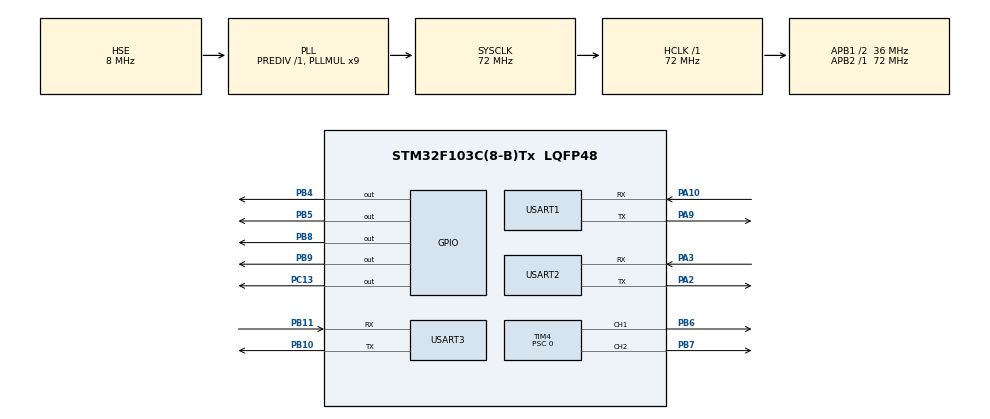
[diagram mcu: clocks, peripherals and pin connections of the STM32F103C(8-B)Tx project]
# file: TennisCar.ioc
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Mcu.Family=STM32F1
Mcu.Name=STM32F103C(8-B)Tx
Mcu.Package=LQFP48
NVIC.PriorityGroup=NVIC_PRIORITYGROUP_4
NVIC.TIM4_IRQn=true\:3\:0\:true\:false\:true\:true\:true
NVIC.USART1_IRQn=true\:0\:0\:false\:false\:true\:true\:true
NVIC.USART2_IRQn=true\:0\:0\:false\:false\:true\:true\:true
NVIC.USART3_IRQn=true\:2\:0\:true\:false\:true\:true\:true
PA10.Mode=Asynchronous
PA10.Signal=USART1_RX
PA13.Mode=Serial_Wire
PA13.Signal=SYS_JTMS-SWDIO
PA14.Mode=Serial_Wire
PA14.Signal=SYS_JTCK-SWCLK
PA2.Mode=Asynchronous
PA2.Signal=USART2_TX
PA3.Mode=Asynchronous
PA3.Signal=USART2_RX
PA9.Mode=Asynchronous
PA9.Signal=USART1_TX
PB10.Mode=Asynchronous
PB10.Signal=USART3_TX
PB11.Mode=Asynchronous
PB11.Signal=USART3_RX
PB4.Signal=GPIO_Output
PB5.Signal=GPIO_Output
PB6.Signal=S_TIM4_CH1
PB7.Signal=S_TIM4_CH2
PB8.Signal=GPIO_Output
PB9.Signal=GPIO_Output
PC13-TAMPER-RTC.Signal=GPIO_Output
PD0-OSC_IN.Mode=HSE-External-Oscillator
PD0-OSC_IN.Signal=RCC_OSC_IN
PD1-OSC_OUT.Mode=HSE-External-Oscillator
PD1-OSC_OUT.Signal=RCC_OSC_OUT
ProjectManager.HeapSize=0x200
ProjectManager.StackSize=0x400
ProjectManager.TargetToolchain=MDK-ARM V5
RCC.AHBFreq_Value=72000000
RCC.APB1CLKDivider=RCC_HCLK_DIV2
RCC.APB1Freq_Value=36000000
RCC.APB1TimFreq_Value=72000000
RCC.APB2Freq_Value=72000000
RCC.APB2TimFreq_Value=72000000
RCC.HCLKFreq_Value=72000000
RCC.PLLMUL=RCC_PLL_MUL9
RCC.PLLSourceVirtual=RCC_PLLSOURCE_HSE
RCC.SYSCLKFreq_VALUE=72000000
RCC.SYSCLKSource=RCC_SYSCLKSOURCE_PLLCLK
RCC.USBFreq_Value=72000000
SH.S_TIM4_CH1.0=TIM4_CH1,PWM Generation1 CH1
SH.S_TIM4_CH2.0=TIM4_CH2,PWM Generation2 CH2
TIM4.Channel-PWM\ Generation1\ CH1=TIM_CHANNEL_1
TIM4.Channel-PWM\ Generation2\ CH2=TIM_CHANNEL_2
TIM4.Period=7199
TIM4.Prescaler=0
TIM4.Pulse-PWM\ Generation1\ CH1=0
TIM4.Pulse-PWM\ Generation2\ CH2=0
USART1.VirtualMode=VM_ASYNC
USART2.VirtualMode=VM_ASYNC
USART3.VirtualMode=VM_ASYNC
VP_TIM4_VS_ClockSourceINT.Mode=Internal
board=custom

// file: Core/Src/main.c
/* USER CODE BEGIN Header */
/**
  ******************************************************************************
  * @file           : main.c
  * @brief          : Main program body
  ******************************************************************************
  * @attention
  *
  * <h2><center>&copy; Copyright (c) 2023 STMicroelectronics.
  * All rights reserved.</center></h2>
  *
  * This software component is licensed by ST under BSD 3-Clause license,
  * the "License"; You may not use this file except in compliance with the
  * License. You may obtain a copy of the License at:
  *                        opensource.org/licenses/BSD-3-Clause
  *
  ******************************************************************************
  */
/* USER CODE END Header */
#include "main.h"
#include "tim.h"
#include "usart.h"
#include "gpio.h"
#include "stdlib.h"

/* USER CODE BEGIN PV */
uint8_t RxBuffer[3];
uint16_t Flag ;  //标志位
uint8_t OpenMV[4]; //openmv模块接收
uint8_t RxFlag;     // openmv模块接收标志位
float PID;
uint16_t Left_Speed;
uint16_t Right_Speed ;
uint16_t stop =0;
uint16_t cout;
/* USER CODE END PV */

void SystemClock_Config(void);
/* USER CODE BEGIN PFP */

// 小车四向运动
void Car_Go(void );
void Car_Back(void);
void Car_Left(void);
void Car_Right(void);
void Car_Stop(void);
void Car_Turn(void);
void HAL_TIM_PeriodElapsedCallback(TIM_HandleTypeDef *htim);
void Car_advance(void);
void TIM_SetCompare1(TIM_TypeDef *, int);
void Car_Run(int,int);
/* USER CODE END PFP */

int main(void)
{

  /* MCU Configuration--------------------------------------------------------*/

  /* Reset of all peripherals, Initializes the Flash interface and the Systick. */
  HAL_Init();

  /* Configure the system clock */
  SystemClock_Config();

  /* Initialize all configured peripherals */
  MX_GPIO_Init();
  MX_USART1_UART_Init();
  MX_USART2_UART_Init();
  MX_TIM4_Init();
  MX_USART3_UART_Init();
  /* USER CODE BEGIN 2 */

  HAL_TIM_Base_Start_IT(&htim4);//开启TIM2定时器中断
  HAL_TIM_PWM_Start(&htim4,TIM_CHANNEL_1);//开启PWM波
  HAL_TIM_PWM_Start(&htim4,TIM_CHANNEL_2);//开启PWM波
  HAL_UART_Receive_IT(&huart3,(uint8_t*)OpenMV,4); //使能接收中断
  Flag = 0;        // 0表示运行测试代码，1表示正式运行
//  HAL_GPIO_WritePin(GPIOC,GPIO_PIN_13,GPIO_PIN_RESET);
  /* USER CODE END 2 */

  /* Infinite loop */
  while (1)
  {

    /* USER CODE BEGIN 3 */
    if(Flag==1)
        {
        while(1)
        {
            if(HAL_UART_Receive(&huart2,RxBuffer,3,100)==HAL_OK)
            {
                break;
            }
        }
           if(RxBuffer[0]=='F')
              {
                Car_Go();
//             HAL_GPIO_WritePin(GPIOC,GPIO_PIN_13,GPIO_PIN_SET);
                HAL_Delay(100);
              }
          else if(RxBuffer[0]=='B')
              {
                Car_Back();
                HAL_Delay(100);
              }
          else if(RxBuffer[0]=='L')
              {
                Car_Left();
                HAL_Delay(100);
              }
          else if(RxBuffer[0]=='R')
              {
                Car_Right();
                HAL_Delay(100);
              }
          else if(RxBuffer[0]=='P')
              {
                Car_Stop();
                HAL_Delay(100);
              }
          else
              {
               Car_Stop();
              }

      }
    else //测试代码
        {
            if (RxFlag)
            {
                RxFlag = 0;
                if (OpenMV[0] == 0x6B && OpenMV[3] == 0x6A)
                {
                    Right_Speed = -OpenMV[1]-OpenMV[2];
                    Left_Speed = OpenMV[1]-OpenMV[2];
                    Car_Run(Left_Speed,Right_Speed);
                    cout = 0 ;
                }
                else if (OpenMV[0] == 0x6A && OpenMV[3] == 0x6C)
                {
                    cout = cout +1;
                    if (cout>15)
                    {
                    Car_Turn();
                    }
                }
            }

        }

  }
  /* USER CODE END 3 */
}

void SystemClock_Config(void)
{
  RCC_OscInitTypeDef RCC_OscInitStruct = {0};
  RCC_ClkInitTypeDef RCC_ClkInitStruct = {0};

  /** Initializes the RCC Oscillators according to the specified parameters
  * in the RCC_OscInitTypeDef structure.
  */
  RCC_OscInitStruct.OscillatorType = RCC_OSCILLATORTYPE_HSE;
  RCC_OscInitStruct.HSEState = RCC_HSE_ON;
  RCC_OscInitStruct.HSEPredivValue = RCC_HSE_PREDIV_DIV1;
  RCC_OscInitStruct.HSIState = RCC_HSI_ON;
  RCC_OscInitStruct.PLL.PLLState = RCC_PLL_ON;
  RCC_OscInitStruct.PLL.PLLSource = RCC_PLLSOURCE_HSE;
  RCC_OscInitStruct.PLL.PLLMUL = RCC_PLL_MUL9;
  if (HAL_RCC_OscConfig(&RCC_OscInitStruct) != HAL_OK)
  {
    Error_Handler();
  }
  /** Initializes the CPU, AHB and APB buses clocks
  */
  RCC_ClkInitStruct.ClockType = RCC_CLOCKTYPE_HCLK|RCC_CLOCKTYPE_SYSCLK
                              |RCC_CLOCKTYPE_PCLK1|RCC_CLOCKTYPE_PCLK2;
  RCC_ClkInitStruct.SYSCLKSource = RCC_SYSCLKSOURCE_PLLCLK;
  RCC_ClkInitStruct.AHBCLKDivider = RCC_SYSCLK_DIV1;
  RCC_ClkInitStruct.APB1CLKDivider = RCC_HCLK_DIV2;
  RCC_ClkInitStruct.APB2CLKDivider = RCC_HCLK_DIV1;

  if (HAL_RCC_ClockConfig(&RCC_ClkInitStruct, FLASH_LATENCY_2) != HAL_OK)
  {
    Error_Handler();
  }
}

/* USER CODE BEGIN 4 */
void HAL_TIM_PeriodElapsedCallback(TIM_HandleTypeDef *htim)//回调函数
{
    int PID;
    if (Flag==1){
        PID = 1800 ;
        if(htim==&htim4)
        {
            __HAL_TIM_SET_COMPARE(&htim4,TIM_CHANNEL_1,PID);//(修改PID值,改变占空比)
            __HAL_TIM_SET_COMPARE(&htim4,TIM_CHANNEL_2,PID);
        }
    }

}
void Car_Go(void){
      HAL_GPIO_WritePin(GPIOB,GPIO_PIN_8,GPIO_PIN_RESET); //SET输出高电平，RESET输出低电平
      HAL_GPIO_WritePin(GPIOB,GPIO_PIN_9,GPIO_PIN_SET);
      HAL_GPIO_WritePin(GPIOB,GPIO_PIN_4,GPIO_PIN_SET);
      HAL_GPIO_WritePin(GPIOB,GPIO_PIN_5,GPIO_PIN_RESET);
}

void Car_Back(void){
      HAL_GPIO_WritePin(GPIOB,GPIO_PIN_8,GPIO_PIN_SET); //SET输出高电平，RESET输出低电平
      HAL_GPIO_WritePin(GPIOB,GPIO_PIN_9,GPIO_PIN_RESET);
      HAL_GPIO_WritePin(GPIOB,GPIO_PIN_4,GPIO_PIN_RESET);
      HAL_GPIO_WritePin(GPIOB,GPIO_PIN_5,GPIO_PIN_SET);
}

void Car_Left(void){
      HAL_GPIO_WritePin(GPIOB,GPIO_PIN_8,GPIO_PIN_RESET); //SET输出高电平，RESET输出低电平
      HAL_GPIO_WritePin(GPIOB,GPIO_PIN_9,GPIO_PIN_SET);
      HAL_GPIO_WritePin(GPIOB,GPIO_PIN_4,GPIO_PIN_RESET);
      HAL_GPIO_WritePin(GPIOB,GPIO_PIN_5,GPIO_PIN_RESET);
}

void Car_Right(void){
      HAL_GPIO_WritePin(GPIOB,GPIO_PIN_8,GPIO_PIN_RESET); //SET输出高电平，RESET输出低电平
      HAL_GPIO_WritePin(GPIOB,GPIO_PIN_9,GPIO_PIN_RESET);
      HAL_GPIO_WritePin(GPIOB,GPIO_PIN_4,GPIO_PIN_SET);
      HAL_GPIO_WritePin(GPIOB,GPIO_PIN_5,GPIO_PIN_RESET);
}

void Car_Stop(void){
      HAL_GPIO_WritePin(GPIOB,GPIO_PIN_8,GPIO_PIN_RESET); //SET输出高电平，RESET输出低电平
      HAL_GPIO_WritePin(GPIOB,GPIO_PIN_9,GPIO_PIN_RESET);
      HAL_GPIO_WritePin(GPIOB,GPIO_PIN_4,GPIO_PIN_RESET);
      HAL_GPIO_WritePin(GPIOB,GPIO_PIN_5,GPIO_PIN_RESET);
}

void Car_Turn(void){
      HAL_GPIO_WritePin(GPIOB,GPIO_PIN_8,GPIO_PIN_RESET); //SET输出高电平，RESET输出低电平
      HAL_GPIO_WritePin(GPIOB,GPIO_PIN_9,GPIO_PIN_SET);
      HAL_GPIO_WritePin(GPIOB,GPIO_PIN_4,GPIO_PIN_RESET);
      HAL_GPIO_WritePin(GPIOB,GPIO_PIN_5,GPIO_PIN_SET);
}
void Car_Run(left_speed, right_speed){
      if(left_speed>0)
      {
      HAL_GPIO_WritePin(GPIOB,GPIO_PIN_8,GPIO_PIN_RESET); //SET输出高电平，RESET输出低电平
      HAL_GPIO_WritePin(GPIOB,GPIO_PIN_9,GPIO_PIN_SET);
      }
      else
      {
      HAL_GPIO_WritePin(GPIOB,GPIO_PIN_8,GPIO_PIN_SET); //SET输出高电平，RESET输出低电平
      HAL_GPIO_WritePin(GPIOB,GPIO_PIN_9,GPIO_PIN_RESET);
      }
      left_speed = abs(left_speed);
      __HAL_TIM_SET_COMPARE(&htim4,TIM_CHANNEL_1,left_speed);
      left_speed =0 ;
      if(right_speed>0)
      {
      HAL_GPIO_WritePin(GPIOB,GPIO_PIN_4,GPIO_PIN_SET);
      HAL_GPIO_WritePin(GPIOB,GPIO_PIN_5,GPIO_PIN_RESET);
      }
      else
      {
      HAL_GPIO_WritePin(GPIOB,GPIO_PIN_4,GPIO_PIN_RESET);
      HAL_GPIO_WritePin(GPIOB,GPIO_PIN_5,GPIO_PIN_SET);
      }
      right_speed = abs(right_speed);
      __HAL_TIM_SET_COMPARE(&htim4,TIM_CHANNEL_2,right_speed);
      right_speed = 0 ;

}
void HAL_UART_RxCpltCallback(UART_HandleTypeDef *huart)
{
        if(huart ->Instance == USART3)
        {
            RxFlag = 1;
            HAL_UART_Receive_IT(&huart3,(uint8_t*)OpenMV, 4);
        }

}

/* USER CODE END 4 */

void Error_Handler(void)
{
  __disable_irq();
  while (1)
  {
  }
}

/************************ (C) COPYRIGHT STMicroelectronics *****END OF FILE****/
